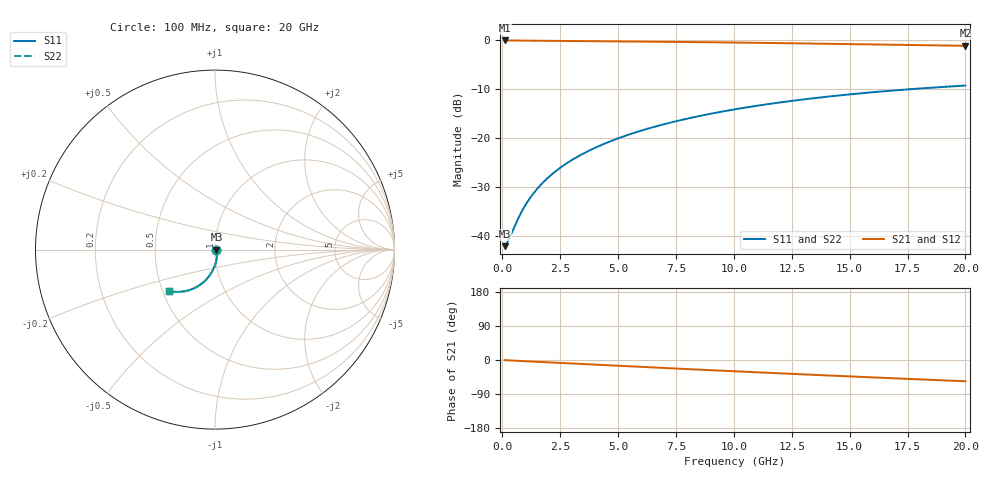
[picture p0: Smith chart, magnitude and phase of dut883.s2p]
! Touchstone file exported from HFSS 2026.1.0
!  File:  C:/ffzhzh/LocalFiles/Ansys_Project_Files/temp_train_TMRDL_883_1783157513_22436.aedt
!  Generated:  05:33:24 PM Jul  4, 2026
!  Design:  TMRDL
!  Project:  temp_train_TMRDL_883_1783157513_22436
! Variables:
!  h_bsmrdl = 2um
!  h_ox = 20um
!  h_rdl = 5um
!  h_sub = 80um
!  h_tmrdl = 3.98um
!  h_tsv = 80um
!  h_via = 3um
!  l_bsmrdl = 300um
!  l_sub = 1312.65um
!  l_tmrdl = 912.65um
!  m_sub = 200um
!  pitch = 11.65um
!  r_tsv = 6um
!  s_tmrdl = 10um
!  w_bsmrdl = 18um
!  w_sub = 500um
!  w_tmrdl = 10.49um
!  x_tsv_center1 = 917.895um
!  x_tsv_center2 = 1235.895um
!  x_tsv_center3 = 2159.035um
!  x_tsv_center4 = 2477.035um
!  x_tsv_center5 = 3400.175um
!  x_tsv_center6 = 3718.175um
# GHz S MA R 50.000000
! Terminal data exported
! Port[1] = TM_RDL1_1_T1
! Port[2] = TM_RDL1_1_T2
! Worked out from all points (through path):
!   200 points, 100 MHz to 20 GHz, reference 50 ohm
!   highest |S21| = -0.07 dB at 100 MHz (marker M1); lowest = -1.2 dB at 20 GHz (marker M2)
!   group delay of S21, straight-line fit = 7.78 ps
!   lowest |S11| = -42.1 dB at 100 MHz (marker M3), VSWR 1.02, Z = 50.8 - j0.0983 ohm
!   |S11| at or under -10 dB: start of sweep to 17.7 GHz
!   |S22| runs from -42.1 to -9.3 dB; largest |S21 - S12| = 2e-15
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0.1  0.007847 -7.1  0.9922 -0.4  0.9922 -0.4  0.007847 -7.1
! Gamma 0 0 0 0
! Port Impedance 50 0 50 0
0.2  0.00846 -14.2  0.9918 -0.7  0.9918 -0.7  0.00846 -14.2
0.3  0.009414 -21.1  0.9912 -1.1  0.9912 -1.1  0.009414 -21.1
0.6  0.01362 -39.1  0.9891 -2.0  0.9891 -2.0  0.01362 -39.1
0.8  0.01703 -48.1  0.9879 -2.7  0.9879 -2.7  0.01703 -48.1
0.9  0.01882 -51.8  0.9875 -3.0  0.9875 -3.0  0.01883 -51.8
1.2  0.02439 -60.5  0.9863 -3.9  0.9863 -3.9  0.0244 -60.5
1.5  0.03011 -66.7  0.9854 -4.8  0.9854 -4.8  0.03012 -66.7
1.9  0.03786 -72.7  0.9843 -6.0  0.9843 -6.0  0.03787 -72.7
2.4  0.04763 -78.0  0.983 -7.5  0.983 -7.5  0.04765 -78.0
2.9  0.05747 -82.0  0.9815 -9.0  0.9815 -9.0  0.05749 -82.0
3.5  0.06934 -85.8  0.9796 -10.8  0.9796 -10.8  0.06936 -85.7
4.2  0.08323 -89.4  0.977 -12.9  0.977 -12.9  0.08326 -89.3
5  0.09912 -92.9  0.9736 -15.2  0.9736 -15.2  0.09916 -92.9
5.9  0.117 -96.5  0.9694 -17.9  0.9694 -17.9  0.117 -96.4
6.8  0.1347 -99.7  0.9647 -20.5  0.9647 -20.5  0.1347 -99.6
8.4  0.1656 -105.0  0.9555 -25.2  0.9555 -25.2  0.1657 -104.9
10.1  0.1974 -110.4  0.9448 -30.0  0.9448 -30.0  0.1975 -110.3
11.7  0.2258 -115.2  0.9341 -34.4  0.9341 -34.4  0.226 -115.1
13.4  0.2542 -120.1  0.9222 -39.0  0.9222 -39.0  0.2544 -120.0
16.7  0.3032 -129.2  0.8985 -47.8  0.8985 -47.8  0.3034 -129.0
20  0.3433 -137.8  0.8751 -56.1  0.8751 -56.1  0.3437 -137.5
